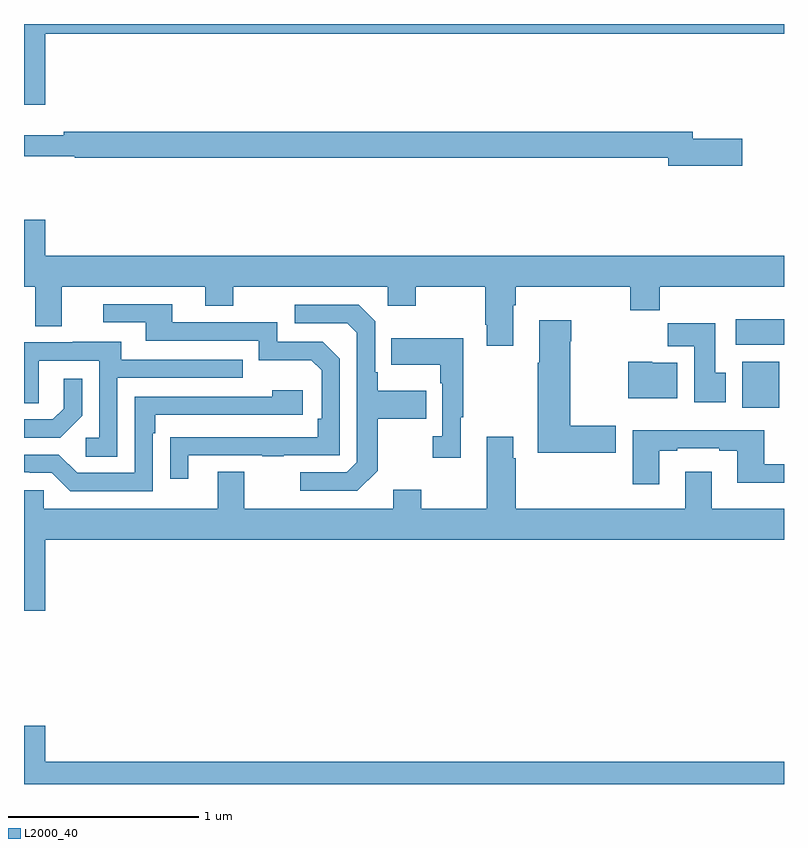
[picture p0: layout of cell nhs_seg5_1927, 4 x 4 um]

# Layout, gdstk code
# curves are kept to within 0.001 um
import gdstk
lib = gdstk.Library(unit=1e-6, precision=1e-09)
def R(c, l, rs):  # rectangles x0, y0, x1, y1
    for r in rs: c.add(gdstk.rectangle(r[:2], r[2:], *l))
def P(c, l, *ps):  # polygons
    for p in ps: c.add(gdstk.Polygon(p, *l))
L2000_40 = (2000, 40)

nhs_seg5_1927 = lib.new_cell('nhs_seg5_1927')
R(nhs_seg5_1927, L2000_40, [(228.779,866.78,228.976,867.022), (228.747,867.11,229,867.244)])
P(nhs_seg5_1927, L2000_40, [(225.112,868.748),(229,868.748),(229,868.799),(225,868.799),(225,868.374),(225.112,868.374)],
  [(228.781,868.196),(228.52,868.196),(228.52,868.232),(225.208,868.232),(225.208,868.213),(225,868.213),(225,868.104),(225.266,868.104),(225.266,868.096),(228.392,868.096),(228.392,868.054),(228.781,868.054)],
  [(227.575,867.32),(227.588,867.32),(227.588,867.416),(228.191,867.416),(228.191,867.292),(228.347,867.292),(228.347,867.416),(229,867.416),(229,867.58),(225.112,867.58),(225.112,867.769),(225,867.769),(225,867.416),(225.059,867.416),(225.059,867.208),(225.199,867.208),(225.199,867.416),(225.953,867.416),(225.953,867.317),(226.101,867.317),(226.101,867.416),(226.914,867.416),(226.914,867.317),(227.061,867.317),(227.061,867.416),(227.428,867.416),(227.428,867.217),(227.435,867.217),(227.435,867.105),(227.575,867.105)],
  [(225.865,866.529),(226.255,866.529),(226.255,866.524),(226.367,866.524),(226.367,866.529),(226.662,866.529),(226.662,867.036),(226.572,867.126),(226.332,867.126),(226.332,867.228),(225.781,867.228),(225.781,867.324),(225.417,867.324),(225.417,867.228),(225.641,867.228),(225.641,867.132),(226.236,867.132),(226.236,867.029),(226.513,867.029),(226.566,866.976),(226.566,866.722),(226.546,866.722),(226.546,866.625),(225.769,866.624),(225.769,866.406),(225.865,866.406)],
  [(226.861,866.449),(226.861,866.722),(227.117,866.722),(227.117,866.869),(226.861,866.869),(226.861,866.965),(226.848,866.965),(226.848,867.234),(226.761,867.321),(226.425,867.321),(226.425,867.225),(226.701,867.225),(226.752,867.174),(226.752,866.493),(226.698,866.439),(226.455,866.439),(226.455,866.343),(226.755,866.343)],
  [(228.115,866.684),(227.874,866.684),(227.874,867.128),(227.879,867.128),(227.879,867.241),(227.711,867.241),(227.711,867.017),(227.704,867.017),(227.704,866.542),(228.115,866.542)],
  [(228.694,866.964),(228.637,866.964),(228.637,867.223),(228.388,867.223),(228.388,867.104),(228.527,867.104),(228.527,866.808),(228.694,866.808)],
  [(227.299,866.729),(227.311,866.729),(227.311,867.145),(226.933,867.145),(226.933,867.005),(227.19,867.005),(227.19,866.909),(227.202,866.909),(227.202,866.63),(227.151,866.63),(227.151,866.517),(227.299,866.517)],
  [(225.492,866.937),(226.151,866.937),(226.151,867.033),(225.511,867.033),(225.511,867.127),(225.257,867.127),(225.257,867.123),(225,867.123),(225,866.803),(225.078,866.803),(225.078,867.027),(225.396,867.027),(225.396,866.622),(225.324,866.622),(225.324,866.521),(225.492,866.521)],
  [(228.439,867.016),(228.306,867.016),(228.306,867.022),(228.181,867.022),(228.181,866.828),(228.439,866.828)],
  [(225.306,866.738),(225.306,866.932),(225.209,866.932),(225.209,866.775),(225.152,866.718),(225,866.718),(225,866.622),(225.19,866.622)],
  [(225.678,866.645),(225.691,866.645),(225.691,866.742),(226.468,866.742),(226.468,866.872),(226.307,866.872),(226.307,866.838),(225.582,866.838),(225.582,866.436),(225.279,866.436),(225.183,866.532),(225,866.532),(225,866.439),(225.029,866.439),(225.029,866.436),(225.147,866.436),(225.243,866.34),(225.678,866.34)],
  [(228.343,866.553),(228.439,866.553),(228.439,866.565),(228.659,866.565),(228.659,866.553),(228.755,866.553),(228.755,866.384),(229,866.384),(229,866.481),(228.895,866.481),(228.895,866.662),(228.203,866.662),(228.203,866.376),(228.343,866.376)],
  [(225.112,866.084),(229,866.084),(229,866.248),(228.619,866.248),(228.619,866.443),(228.479,866.443),(228.479,866.248),(227.588,866.248),(227.588,866.513),(227.575,866.513),(227.575,866.626),(227.435,866.626),(227.435,866.248),(227.091,866.248),(227.091,866.347),(226.943,866.347),(226.943,866.248),(226.159,866.248),(226.159,866.443),(226.019,866.443),(226.019,866.248),(225.105,866.248),(225.105,866.346),(225,866.346),(225,865.71),(225.112,865.71)],
  [(229,864.916),(225.112,864.916),(225.112,865.105),(225,865.105),(225,864.799),(229,864.799)])

lib.write_gds('nhs_seg5_1927.gds')
